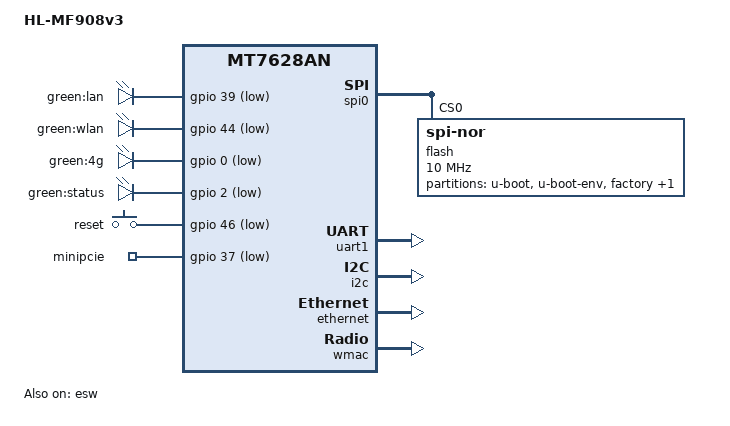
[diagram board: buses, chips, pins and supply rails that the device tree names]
#include "mt7628an.dtsi"

#include <dt-bindings/gpio/gpio.h>
#include <dt-bindings/input/input.h>

/ {
	compatible = "hooolink,hl-mf908-v3", "mediatek,mt7628an-soc";
	model = "HL-MF908v3";

	chosen {
		bootargs = "console=ttyS0,57600n8";
	};

	aliases {
		led-boot = &led_status;
		led-failsafe = &led_status;
		led-running = &led_status;
		led-upgrade = &led_status;
	};

	leds {
		compatible = "gpio-leds";

		lan {
			gpios = <&gpio 39 GPIO_ACTIVE_LOW>;
			label = "green:lan";
			linux,default-trigger = "phy0tpt";
		};

		wlan {
			gpios = <&gpio 44 GPIO_ACTIVE_LOW>;
			label = "green:wlan";
		};

		4g {
			gpios = <&gpio 0 GPIO_ACTIVE_LOW>;
			label = "green:4g";
		};

		led_status: status {
			gpios = <&gpio 2 GPIO_ACTIVE_LOW>;
			label = "green:status";
		};
	};

	keys {
		compatible = "gpio-keys";

		reset {
			label = "reset";
			gpios = <&gpio 46 GPIO_ACTIVE_LOW>;
			linux,code = <KEY_RESTART>;
		};
	};

	gpio_export {
		compatible = "gpio-export";
		#size-cells = <0>;

		minipcie {
			gpio-export,name = "minipcie";
			gpio-export,output = <0>;
			gpios = <&gpio 37 GPIO_ACTIVE_LOW>;
		};
	};
};

&spi0 {
	status = "okay";

	flash@0 {
		compatible = "jedec,spi-nor";
		reg = <0>;
		spi-max-frequency = <10000000>;

		partitions: partitions {
			compatible = "fixed-partitions";
			#address-cells = <1>;
			#size-cells = <1>;

			partition@0 {
				label = "u-boot";
				reg = <0x0 0x30000>;
				read-only;
			};

			partition@30000 {
				label = "u-boot-env";
				reg = <0x30000 0x10000>;
				read-only;
			};

			factory: partition@40000 {
				label = "factory";
				reg = <0x40000 0x10000>;
				read-only;
			};

			partition@50000 {
				compatible = "denx,uimage";
				label = "firmware";
				reg = <0x50000 0xfb0000>;
			};
		};
	};
};

&uart1 {
	status = "okay";
};

&i2c {
	status = "okay";
};

&ethernet {
	status = "okay";
	mtd-mac-address = <&factory 0x2e>;
};

&esw {
	status = "okay";
};

&wmac {
	status = "okay";
	ralink,mtd-eeprom = <&factory 0x04>;
};

&state_default {
	gpio {
		groups = "i2c", "gpio", "uart1", "refclk", "wdt", "pwm0";
		function = "gpio";
	};
};
